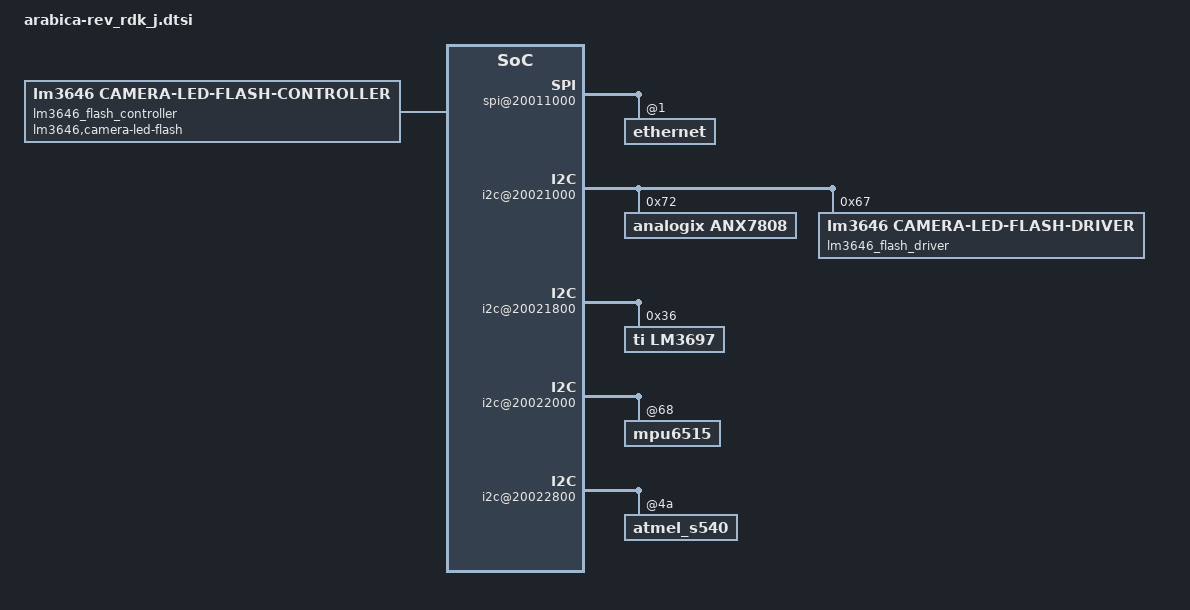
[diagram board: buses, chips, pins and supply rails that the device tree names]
/*
 * This file is for MADK v2.1
 */

/ {
	connectivity {
		wlan@0{
			power_gpio = <120>;
		};
/* sdio start */
		sdhci@0x20006000{
			sdclk = <200>;			/* 200Mhz, UHS104*/
		};
/* sdio end */
	};

	gpio-keys {
		button@1 {
			gpios = <&gpio2 1 1>;
		};
		button@2 {
			gpios = <&gpio2 2 1>;
		};
	};

	soc {

		spi@20011000{
			ethernet@1{
				irq_gpio = <5>;
			};
		};

		max77819_pmic {
			irq_gpio = <136>;
		};

		 pmic1: d2260@48 {
			regulators {
				D2260_GPIOCTRL_1 {
					regulator-name = "+1.8V_VT_CAM_IO";
					regulator-enable-gpio = <173>;
				};
			};
		};

		i2c@20021000 {

/* LGE_CHANGE_S
 */
			anx7808@72{
				compatible = "analogix,anx7808";
				status = "ok";
				reg = <0x72>;
				analogix,reset-gpio = <52>; /* PERI_G0_GPIO_BASE(0)+52 */
				analogix,irq-gpio = <51>;   /* PERI_G0_GPIO_BASE(0)+51 */
				analogix,p-dwn-gpio = <53>; /* PERI_G0_GPIO_BASE(0)+53 */
				analogix,v10-ctrl-gpio = <31>;  /* PERI_G0_GPIO_BASE(0)+31 */
				analogix,cbl-det-gpio = <142>;  /* SMS_GPIO_BASE(112)+30 */
				lge,external-ldo-control = <0>;
			};
			anx7812@72{
				compatible = "analogix,anx7812";
				status = "disable";
				reg = <0x72>;
				analogix,reset-gpio = <52>; /* PERI_G0_GPIO_BASE(0)+52 */
				analogix,irq-gpio = <51>;   /* PERI_G0_GPIO_BASE(0)+51 */
				analogix,p-dwn-gpio = <53>; /* PERI_G0_GPIO_BASE(0)+53 */
				analogix,v10-ctrl-gpio = <31>;  /* PERI_G0_GPIO_BASE(0)+31 */
				analogix,cbl-det-gpio = <142>;  /* SMS_GPIO_BASE(112)+30 */
				lge,external-ldo-control = <0>;
			};

			lm3646_flash_driver: lm3646@67 {
				compatible = "lm3646,camera-led-flash-driver";
				status = "ok";
				reg = <0x67>;
				lm3646,gpio-enable = <71>; /*<&pm8941_gpios 6 0>; */
				lm3646,tx-pin-enable = <0>;
				lm3646,torch-pin-enable = <0>;
				lm3646,strobe-pin-enable =<0>;

				lm3646_flash: lm3646,flash {
					lm3646,flash-trigger = "lm3646:flash";
					lm3646,flash-max-current = <0x0A>;
					lm3646,flash-op-current = <0x3F>;
//				lm3646,flash-ramp-time = <0x0>;
					lm3646,flash-time-out = <0x07>;
				};

				lm3646_torch: lm3646,torch {
					lm3646,torch-trigger = "lm3646:torch";
					lm3646,torch-max-current = <0x07>;
					lm3646,torch-op-current = <0x3F>;
				};
			};
		};
		i2c@20021800 {
			compatible = "snps,odin-i2c";
			reg = <0 0x20021800 0 0x800>;
			interrupts = <0 16 0x4>;
			clocks = <&i2c_sclk1>;
			pclk_name = "i2c_pclk1";
			enable_rpm = <1>;
			#address-cells = <1>;
			#size-cells = <0>;

			lm3697@36 {
				compatible = "ti,lm3697";
				reg = <0x36>;

				/* GPIO for HWEN pin */
				ti,enable-gpio = <29>;

				lcd_bl {
					backlight-name = "lcd-backlight";
					hvled1-used;
					hvled2-used;
					max-current-milliamp = <20>;
					initial-brightness = <171>;
					/* mapping-mode, 0:exp, 1:linear */
					mapping-mode = <1>;
					blmap_size = <256>;
					blmap = <
							17	17	17	17	17	17	17	17	17	17	17	17	17	17	17	17
							17	17	17	17	17	17	17	17	17	17	17	17	17	17	17	17
							17	17	17	17	17	17	26	26	26	26	26	26	26	26	26	26
							35	35	35	35	35	35	35	35	35	35	35	35	35	35	35	35
							43	43	43	43	43	43	43	52	52	52	52	52	52	52	52	60
							60	60	60	60	60	60	69	69	69	69	78	78	95	95	95	104
							104	104	104	112	112	112	112	121	121	121	130	130	138	138	147	147
							164	173	173	181	190	199	207	216	216	233	233	242	242	250	250	259
							259	268	268	276	285	294	294	302	311	320	328	345	354	363	371	380
							389	397	406	415	423	423	432	440	458	466	484	501	518	527	536	544
							553	561	570	579	579	587	596	605	613	622	631	639	648	656	665	674
							674	682	691	700	717	734	751	769	777	786	795	803	812	829	829	846
							864	881	907	916	933	950	967	985	1002	1019	1036	1054	1062
							1071	1080	1088	1097	1123	1140	1157	1175	1192
							1201	1209	1226	1244	1261	1278	1296	1321	1347
							1373	1399	1416	1434	1451	1468	1486	1503	1520
							1537	1572	1598	1615	1632	1650	1667	1684	1693
							1719	1745	1762	1788	1814	1840	1866	1892	1900
							1917	1943	1969	1995	2021	2047
							>;

					pwm-period = <1>;
				};
			};
		};
		i2c@20022000 {
			mpu6515@68{
				negate_y = <1>;
				negate_z = <1>;
				inven,secondary_reg = <0x0F>;
			};
		};
		i2c@20022800{

                    atmel_s540@4a{
                        atmel,reset-gpio = <147>;
                    };
		};

		lm3646_flash_controller: lm3646,camera-led-flash {
			status = "ok";
			cell-index = <0>;
			compatible = "lm3646,camera-led-flash-controller";
			lm3646,flash-type = <1>;
			lm3646,flash-source = <&lm3646_flash>;
			lm3646,torch-source = <&lm3646_torch>;
		};

		max77819_pmic {
			compatible = "maxim,max77819-pmic";
			status = "disable";

			charger {
				compatible = "maxim,max77819-charger";
				status = "disable";
			};
		};
		max77819_peri {
			compatible = "maxim,max77819-periph";
			status = "disable";

			backlight {
				compatible = "maxim,max77819-wled";
				status = "disable";
			};
		};
	};

	sdhci@0x2000A000{
		sdc_cd_gpio = <146>;
	};

};
